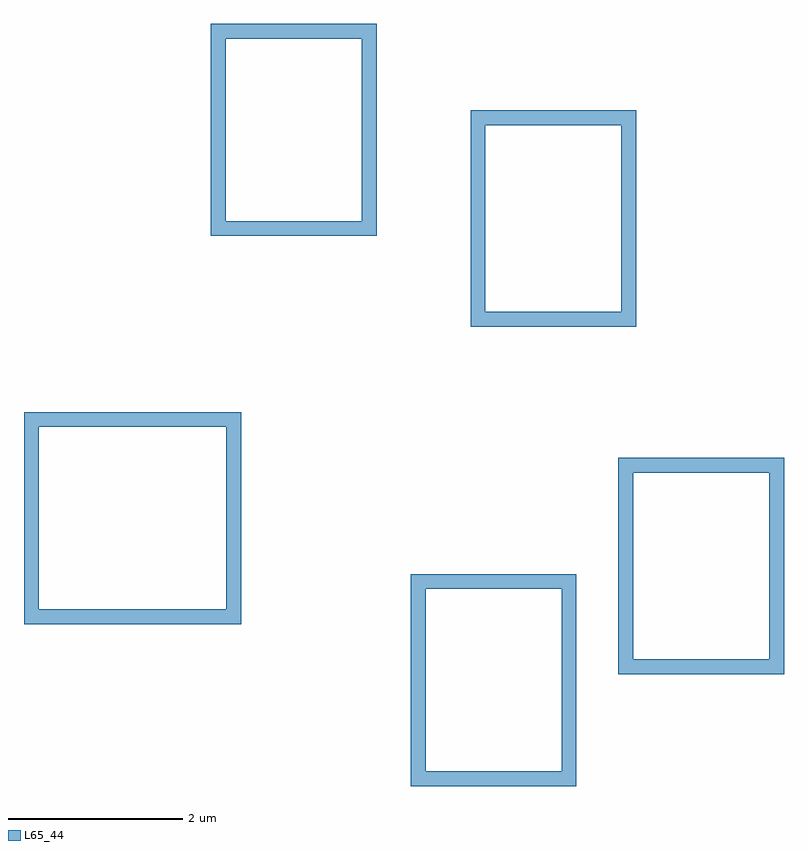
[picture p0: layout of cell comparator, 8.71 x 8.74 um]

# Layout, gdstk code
import gdstk
lib = gdstk.Library(unit=1e-6, precision=1e-09)
def R(c, l, rs):  # rectangles x0, y0, x1, y1
    for r in rs: c.add(gdstk.rectangle(r[:2], r[2:], *l))
L65_44 = (65, 44)

sky130_fd_pr__pfet_01v8_ = lib.new_cell('sky130_fd_pr__pfet_01v8_L6YT83')
R(sky130_fd_pr__pfet_01v8_, L65_44, [(-0.95,-1.24,0.95,-1.07), (-0.95,-1.07,-0.78,1.07), (0.78,-1.07,0.95,1.07), (-0.95,1.07,0.95,1.24)])

cmpc_m1 = lib.new_cell('cmpc_M1')
cmpc_m1.add(gdstk.Reference(sky130_fd_pr__pfet_01v8_, (0.6,0.89)))

sky130_fd_pr__nfet_01v8_ = lib.new_cell('sky130_fd_pr__nfet_01v8_TKZLR3')
R(sky130_fd_pr__nfet_01v8_, L65_44, [(-0.95,-1.215,0.95,-1.045), (-0.95,-1.045,-0.78,1.045), (0.78,-1.045,0.95,1.045), (-0.95,1.045,0.95,1.215)])

cmpc_ml1 = lib.new_cell('cmpc_Ml1')
cmpc_ml1.add(gdstk.Reference(sky130_fd_pr__nfet_01v8_, (0.865,1.13)))

c_sky130_fd_pr__nfet_01v8_ = lib.new_cell('sky130_fd_pr__nfet_01v8_FKYAJ2')
R(c_sky130_fd_pr__nfet_01v8_, L65_44, [(-1.245,-1.215,1.245,-1.045), (-1.245,-1.045,-1.075,1.045), (1.075,-1.045,1.245,1.045), (-1.245,1.045,1.245,1.215)])

cmpc_mdiff = lib.new_cell('cmpc_Mdiff')
cmpc_mdiff.add(gdstk.Reference(c_sky130_fd_pr__nfet_01v8_, (0.63,0.6)))

c_sky130_fd_pr__pfet_01v8_ = lib.new_cell('sky130_fd_pr__pfet_01v8_L6YT83$1')
R(c_sky130_fd_pr__pfet_01v8_, L65_44, [(-0.95,-1.24,0.95,-1.07), (-0.95,-1.07,-0.78,1.07), (0.78,-1.07,0.95,1.07), (-0.95,1.07,0.95,1.24)])

cmpc_m2 = lib.new_cell('cmpc_M2')
cmpc_m2.add(gdstk.Reference(c_sky130_fd_pr__pfet_01v8_, (0.6,0.89)))

c_sky130_fd_pr__nfet_01v8__ = lib.new_cell('sky130_fd_pr__nfet_01v8_TKZLR3$1')
R(c_sky130_fd_pr__nfet_01v8__, L65_44, [(-0.95,-1.215,0.95,-1.045), (-0.95,-1.045,-0.78,1.045), (0.78,-1.045,0.95,1.045), (-0.95,1.045,0.95,1.215)])

cmpc_ml2 = lib.new_cell('cmpc_Ml2')
cmpc_ml2.add(gdstk.Reference(c_sky130_fd_pr__nfet_01v8__, (0.865,1.13)))

comparator = lib.new_cell('comparator')
comparator.add(gdstk.Reference(cmpc_m1, (2.645,1.548)))
comparator.add(gdstk.Reference(cmpc_ml1, (0,0)))
comparator.add(gdstk.Reference(cmpc_mdiff, (-3.903,2.387)))
comparator.add(gdstk.Reference(cmpc_m2, (0.952,5.532)))
comparator.add(gdstk.Reference(cmpc_ml2, (-2.29,6.306)))

lib.write_gds('comparator.gds')
